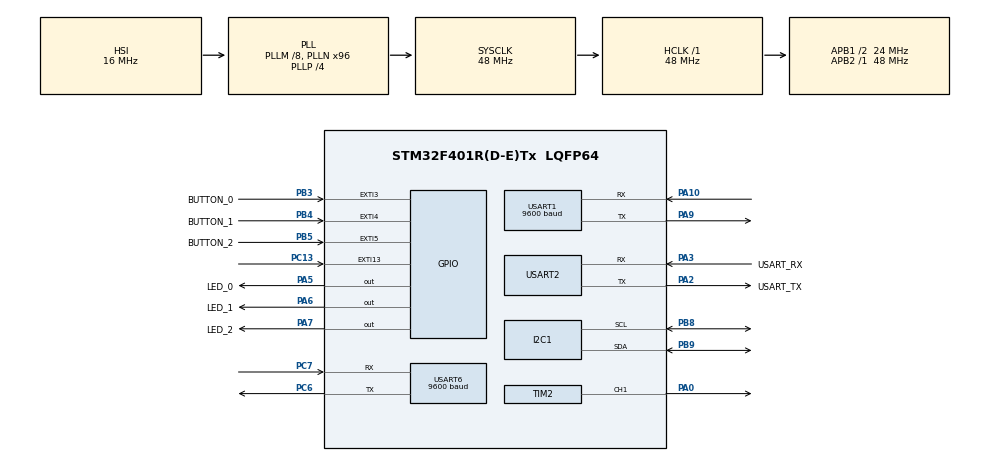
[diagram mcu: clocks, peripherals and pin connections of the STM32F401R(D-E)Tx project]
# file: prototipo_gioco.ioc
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Dma.I2C1_TX.0.Direction=DMA_MEMORY_TO_PERIPH
Dma.I2C1_TX.0.FIFOMode=DMA_FIFOMODE_DISABLE
Dma.I2C1_TX.0.Instance=DMA1_Stream6
Dma.I2C1_TX.0.MemDataAlignment=DMA_MDATAALIGN_BYTE
Dma.I2C1_TX.0.MemInc=DMA_MINC_ENABLE
Dma.I2C1_TX.0.Mode=DMA_NORMAL
Dma.I2C1_TX.0.PeriphDataAlignment=DMA_PDATAALIGN_BYTE
Dma.I2C1_TX.0.PeriphInc=DMA_PINC_DISABLE
Dma.I2C1_TX.0.Priority=DMA_PRIORITY_LOW
Dma.Request0=I2C1_TX
FREERTOS.Tasks01=GameTask,0,1024,StartGameTask,Default,NULL,Dynamic,NULL,NULL
FREERTOS.Timers01=TimeoutTimer,TimeoutCallback,osTimerOnce,Default,NULL,Dynamic,NULL
FREERTOS.configUSE_NEWLIB_REENTRANT=1
FREERTOS.configUSE_TIMERS=1
I2C1.I2C_Mode=I2C_Fast
Mcu.Family=STM32F4
Mcu.Name=STM32F401R(D-E)Tx
Mcu.Package=LQFP64
NVIC.DMA1_Stream6_IRQn=true\:5\:0\:false\:false\:true\:true\:false\:true\:true
NVIC.EXTI15_10_IRQn=true\:5\:0\:false\:false\:true\:true\:true\:true\:true
NVIC.EXTI3_IRQn=true\:5\:0\:false\:false\:true\:false\:true\:true\:true
NVIC.EXTI4_IRQn=true\:5\:0\:false\:false\:true\:false\:true\:true\:true
NVIC.EXTI9_5_IRQn=true\:5\:0\:false\:false\:true\:false\:true\:true\:true
NVIC.I2C1_EV_IRQn=true\:5\:0\:false\:false\:true\:true\:true\:true\:true
NVIC.PriorityGroup=NVIC_PRIORITYGROUP_4
NVIC.TIM1_UP_TIM10_IRQn=true\:15\:0\:false\:false\:true\:false\:false\:true\:true
NVIC.TIM2_IRQn=true\:5\:0\:false\:false\:true\:true\:true\:true\:true
NVIC.TimeBase=TIM1_UP_TIM10_IRQn
NVIC.TimeBaseIP=TIM1
NVIC.USART1_IRQn=true\:5\:0\:false\:false\:true\:true\:true\:true\:true
PA0-WKUP.Signal=S_TIM2_CH1_ETR
PA10.Mode=Asynchronous
PA10.Signal=USART1_RX
PA13.Mode=Serial_Wire
PA13.Signal=SYS_JTMS-SWDIO
PA14.GPIO_Label=TCK
PA14.Mode=Serial_Wire
PA14.Signal=SYS_JTCK-SWCLK
PA2.GPIO_Label=USART_TX
PA2.GPIO_Mode=GPIO_MODE_AF_PP
PA2.GPIO_PuPd=GPIO_NOPULL
PA2.GPIO_Speed=GPIO_SPEED_FREQ_LOW
PA2.Mode=Asynchronous
PA2.Signal=USART2_TX
PA3.GPIO_Label=USART_RX
PA3.GPIO_Mode=GPIO_MODE_AF_PP
PA3.GPIO_PuPd=GPIO_NOPULL
PA3.GPIO_Speed=GPIO_SPEED_FREQ_LOW
PA3.Mode=Asynchronous
PA3.Signal=USART2_RX
PA5.GPIO_Label=LED_0
PA5.GPIO_Mode=GPIO_MODE_OUTPUT_PP
PA5.GPIO_PuPd=GPIO_NOPULL
PA5.GPIO_Speed=GPIO_SPEED_FREQ_LOW
PA5.Signal=GPIO_Output
PA6.GPIO_Label=LED_1
PA6.Signal=GPIO_Output
PA7.GPIO_Label=LED_2
PA7.Signal=GPIO_Output
PA9.Mode=Asynchronous
PA9.Signal=USART1_TX
PB3.GPIO_Label=BUTTON_0
PB3.GPIO_ModeDefaultEXTI=GPIO_MODE_IT_FALLING
PB3.GPIO_PuPd=GPIO_PULLUP
PB3.Signal=GPXTI3
PB4.GPIO_Label=BUTTON_1
PB4.GPIO_ModeDefaultEXTI=GPIO_MODE_IT_FALLING
PB4.GPIO_PuPd=GPIO_PULLUP
PB4.Signal=GPXTI4
PB5.GPIO_Label=BUTTON_2
PB5.GPIO_ModeDefaultEXTI=GPIO_MODE_IT_FALLING
PB5.GPIO_PuPd=GPIO_PULLUP
PB5.Signal=GPXTI5
PB8.Mode=I2C
PB8.Signal=I2C1_SCL
PB9.Mode=I2C
PB9.Signal=I2C1_SDA
PC13-ANTI_TAMP.GPIO_ModeDefaultEXTI=GPIO_MODE_IT_FALLING
PC13-ANTI_TAMP.Signal=GPXTI13
PC14-OSC32_IN.Mode=LSE-External-Oscillator
PC14-OSC32_IN.Signal=RCC_OSC32_IN
PC15-OSC32_OUT.Mode=LSE-External-Oscillator
PC15-OSC32_OUT.Signal=RCC_OSC32_OUT
PC6.Mode=Asynchronous
PC6.Signal=USART6_TX
PC7.Mode=Asynchronous
PC7.Signal=USART6_RX
PH0\ -\ OSC_IN.Mode=HSE-External-Clock-Source
PH0\ -\ OSC_IN.Signal=RCC_OSC_IN
PH1\ -\ OSC_OUT.Mode=HSE-External-Clock-Source
PH1\ -\ OSC_OUT.Signal=RCC_OSC_OUT
ProjectManager.HeapSize=0x200
ProjectManager.StackSize=0x400
ProjectManager.TargetToolchain=STM32CubeIDE
RCC.48MHZClocksFreq_Value=27428571.42857143
RCC.AHBFreq_Value=48000000
RCC.APB1CLKDivider=RCC_HCLK_DIV2
RCC.APB1Freq_Value=24000000
RCC.APB1TimFreq_Value=48000000
RCC.APB2Freq_Value=48000000
RCC.APB2TimFreq_Value=48000000
RCC.CortexFreq_Value=48000000
RCC.HCLKFreq_Value=48000000
RCC.HSE_VALUE=8000000
RCC.HSI_VALUE=16000000
RCC.PLLM=8
RCC.PLLN=96
RCC.PLLP=RCC_PLLP_DIV4
RCC.PLLQ=7
RCC.SYSCLKFreq_VALUE=48000000
RCC.SYSCLKSource=RCC_SYSCLKSOURCE_PLLCLK
RCC.VCOOutputFreq_Value=192000000
SH.S_TIM2_CH1_ETR.0=TIM2_CH1,PWM Generation1 CH1
TIM2.AutoReloadPreload=TIM_AUTORELOAD_PRELOAD_ENABLE
TIM2.Channel-PWM\ Generation1\ CH1=TIM_CHANNEL_1
TIM2.Period=1000
TIM2.Prescaler=84 - 1
USART1.BaudRate=9600
USART1.VirtualMode=VM_ASYNC
USART2.VirtualMode=VM_ASYNC
USART6.BaudRate=9600
USART6.VirtualMode=VM_ASYNC
VP_FREERTOS_VS_CMSIS_V1.Mode=CMSIS_V1
VP_SYS_VS_tim1.Mode=TIM1
VP_TIM2_VS_ClockSourceINT.Mode=Internal
board=NUCLEO-F401RE

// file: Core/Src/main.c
/* USER CODE BEGIN Header */
/**
  ******************************************************************************
  * @file           : main.c -V0.0.4
  * @brief          : Main program body
  * author: Elisa Castellari 5610013 / Moreno Tomaghelli 5291133
  * prova push elisa
  ******************************************************************************
  */
/* USER CODE END Header */
#include "main.h"
#include "cmsis_os.h"

/* USER CODE BEGIN Includes */
#include "game.h"
#include "constants.h"
#include "buzzer.h"
#include "hm10_ble.h"
/* USER CODE END Includes */

I2C_HandleTypeDef hi2c1;
DMA_HandleTypeDef hdma_i2c1_tx;

TIM_HandleTypeDef htim2;

UART_HandleTypeDef huart1;
UART_HandleTypeDef huart2;
UART_HandleTypeDef huart6;

osThreadId GameTaskHandle;
osTimerId TimeoutTimerHandle;
/* USER CODE BEGIN PV */

uint8_t rx_byte; // variabile per salvare il bt in arrivo

typedef struct {  //struct with port and pin associated
    GPIO_TypeDef* port;
    uint16_t pin;
   // uint16_t frequency; //for generating a note with the buzzer
} HardwareElement_t;

HardwareElement_t array_leds[NUM_BUTTONS] = {
    {GPIOA, GPIO_PIN_5}, // LED 0
    {GPIOA, GPIO_PIN_6}, // LED 1
    {GPIOA, GPIO_PIN_7}  // LED 2
};

HardwareElement_t array_bottoni[NUM_BUTTONS] = {
    {GPIOB, GPIO_PIN_3}, // BUTTON 0
    {GPIOB, GPIO_PIN_4}, // BUTTON 1
    {GPIOB, GPIO_PIN_5}  // BUTTON 2
};

volatile uint8_t buttonPressed = 0; // 0 se non premuto, 1 se premuto
volatile uint8_t timeoutOccurred = 0; // missed input
volatile int8_t pressedButtonIndex = -1; //to understand which button has been pressed
volatile uint8_t songSelection = 0;
//uint8_t rx_byte = '0';
uint8_t rx_string = '0';
uint32_t startTime = 0;
uint8_t targetIndex = 0; //the led that is turned on
uint32_t reactionTime = 0;
GameNote_t* melody; //my melody

extern int combo; //tiene conto la combo
extern int score; //tiene conto dello score

volatile uint8_t recievedOK = 0; //messo per dire ricevuto
//int timer_value = 0; // valuta tempo di risposta

/* USER CODE END PV */

void SystemClock_Config(void);
static void MX_GPIO_Init(void);
static void MX_DMA_Init(void);
static void MX_TIM2_Init(void);
static void MX_USART2_UART_Init(void);
static void MX_I2C1_Init(void);
static void MX_USART1_UART_Init(void);
static void MX_USART6_UART_Init(void);
void StartGameTask(void const * argument);
void TimeoutCallback(void const * argument);

/* USER CODE BEGIN PFP */
#ifdef __GNUC__
  #define PUTCHAR_PROTOTYPE int __io_putchar(int ch)
#else
  #define PUTCHAR_PROTOTYPE int fputc(int ch, FILE *f)
#endif

PUTCHAR_PROTOTYPE
{
  HAL_UART_Transmit(&huart2, (uint8_t *)&ch, 1, 0xFFFF);
  return ch;
}
/* USER CODE END PFP */

/* USER CODE BEGIN 0 */

//////////////////////////dma///////////////////////////
volatile uint8_t trasmissione_in_corso = 0;

// Questa funzione viene chiamata dall'hardware quando il DMA ha finito
void HAL_I2C_MemTxCpltCallback(I2C_HandleTypeDef *hi2c) {
    if (hi2c->Instance == I2C1) {
        trasmissione_in_corso = 0; // Il buffer ora è libero!
    }
}
////////////////////////////////////////////////////////////////

/* USER CODE END 0 */

int main(void)
{

  /* MCU Configuration--------------------------------------------------------*/

  /* Reset of all peripherals, Initializes the Flash interface and the Systick. */
  HAL_Init();

  /* Configure the system clock */
  SystemClock_Config();

  /* Initialize all configured peripherals */
  MX_GPIO_Init();
  MX_DMA_Init();
  MX_TIM2_Init();
  MX_USART2_UART_Init();
  MX_I2C1_Init();
  MX_USART1_UART_Init();
  MX_USART6_UART_Init();
  /* USER CODE BEGIN 2 */
  // HAL_UART_Recieve_IT(&uart1, &rx_byte, 1);
  /* USER CODE BEGIN 2 */
  // Stringa da inviare all'HM-10
  //uint8_t at_command[] = "6";

  // Invio del comando tramite USART1 (timeout 100ms)
 // HAL_UART_Transmit(&huart1, at_command, sizeof(at_command)-1, 100);

  //bt_transmit_int(3);
  HAL_UART_Receive_IT(&huart1, &rx_string, 1);
  /* USER CODE END 2 */

  /* Create the timer(s) */
  /* definition and creation of TimeoutTimer */
  osTimerDef(TimeoutTimer, TimeoutCallback);
  TimeoutTimerHandle = osTimerCreate(osTimer(TimeoutTimer), osTimerOnce, NULL);

  /* Create the thread(s) */
  /* definition and creation of GameTask */
  osThreadDef(GameTask, StartGameTask, osPriorityNormal, 0, 1024);
  GameTaskHandle = osThreadCreate(osThread(GameTask), NULL);

  /* Start scheduler */
  osKernelStart();

  /* We should never get here as control is now taken by the scheduler */

  /* Infinite loop */
  while (1)
  {

  }
}

void SystemClock_Config(void)
{
  RCC_OscInitTypeDef RCC_OscInitStruct = {0};
  RCC_ClkInitTypeDef RCC_ClkInitStruct = {0};

  /** Configure the main internal regulator output voltage
  */
  __HAL_RCC_PWR_CLK_ENABLE();
  __HAL_PWR_VOLTAGESCALING_CONFIG(PWR_REGULATOR_VOLTAGE_SCALE2);

  /** Initializes the RCC Oscillators according to the specified parameters
  * in the RCC_OscInitTypeDef structure.
  */
  RCC_OscInitStruct.OscillatorType = RCC_OSCILLATORTYPE_HSI;
  RCC_OscInitStruct.HSIState = RCC_HSI_ON;
  RCC_OscInitStruct.HSICalibrationValue = RCC_HSICALIBRATION_DEFAULT;
  RCC_OscInitStruct.PLL.PLLState = RCC_PLL_ON;
  RCC_OscInitStruct.PLL.PLLSource = RCC_PLLSOURCE_HSI;
  RCC_OscInitStruct.PLL.PLLM = 8;
  RCC_OscInitStruct.PLL.PLLN = 96;
  RCC_OscInitStruct.PLL.PLLP = RCC_PLLP_DIV4;
  RCC_OscInitStruct.PLL.PLLQ = 7;
  if (HAL_RCC_OscConfig(&RCC_OscInitStruct) != HAL_OK)
  {
    Error_Handler();
  }

  /** Initializes the CPU, AHB and APB buses clocks
  */
  RCC_ClkInitStruct.ClockType = RCC_CLOCKTYPE_HCLK|RCC_CLOCKTYPE_SYSCLK
                              |RCC_CLOCKTYPE_PCLK1|RCC_CLOCKTYPE_PCLK2;
  RCC_ClkInitStruct.SYSCLKSource = RCC_SYSCLKSOURCE_PLLCLK;
  RCC_ClkInitStruct.AHBCLKDivider = RCC_SYSCLK_DIV1;
  RCC_ClkInitStruct.APB1CLKDivider = RCC_HCLK_DIV2;
  RCC_ClkInitStruct.APB2CLKDivider = RCC_HCLK_DIV1;

  if (HAL_RCC_ClockConfig(&RCC_ClkInitStruct, FLASH_LATENCY_1) != HAL_OK)
  {
    Error_Handler();
  }
}

static void MX_I2C1_Init(void)
{

  hi2c1.Instance = I2C1;
  hi2c1.Init.ClockSpeed = 400000;
  hi2c1.Init.DutyCycle = I2C_DUTYCYCLE_2;
  hi2c1.Init.OwnAddress1 = 0;
  hi2c1.Init.AddressingMode = I2C_ADDRESSINGMODE_7BIT;
  hi2c1.Init.DualAddressMode = I2C_DUALADDRESS_DISABLE;
  hi2c1.Init.OwnAddress2 = 0;
  hi2c1.Init.GeneralCallMode = I2C_GENERALCALL_DISABLE;
  hi2c1.Init.NoStretchMode = I2C_NOSTRETCH_DISABLE;
  if (HAL_I2C_Init(&hi2c1) != HAL_OK)
  {
    Error_Handler();
  }

}

static void MX_TIM2_Init(void)
{

  TIM_ClockConfigTypeDef sClockSourceConfig = {0};
  TIM_MasterConfigTypeDef sMasterConfig = {0};
  TIM_OC_InitTypeDef sConfigOC = {0};

  htim2.Instance = TIM2;
  htim2.Init.Prescaler = 84 - 1;
  htim2.Init.CounterMode = TIM_COUNTERMODE_UP;
  htim2.Init.Period = 1000;
  htim2.Init.ClockDivision = TIM_CLOCKDIVISION_DIV1;
  htim2.Init.AutoReloadPreload = TIM_AUTORELOAD_PRELOAD_ENABLE;
  if (HAL_TIM_Base_Init(&htim2) != HAL_OK)
  {
    Error_Handler();
  }
  sClockSourceConfig.ClockSource = TIM_CLOCKSOURCE_INTERNAL;
  if (HAL_TIM_ConfigClockSource(&htim2, &sClockSourceConfig) != HAL_OK)
  {
    Error_Handler();
  }
  if (HAL_TIM_PWM_Init(&htim2) != HAL_OK)
  {
    Error_Handler();
  }
  sMasterConfig.MasterOutputTrigger = TIM_TRGO_RESET;
  sMasterConfig.MasterSlaveMode = TIM_MASTERSLAVEMODE_DISABLE;
  if (HAL_TIMEx_MasterConfigSynchronization(&htim2, &sMasterConfig) != HAL_OK)
  {
    Error_Handler();
  }
  sConfigOC.OCMode = TIM_OCMODE_PWM1;
  sConfigOC.Pulse = 0;
  sConfigOC.OCPolarity = TIM_OCPOLARITY_HIGH;
  sConfigOC.OCFastMode = TIM_OCFAST_DISABLE;
  if (HAL_TIM_PWM_ConfigChannel(&htim2, &sConfigOC, TIM_CHANNEL_1) != HAL_OK)
  {
    Error_Handler();
  }
  HAL_TIM_MspPostInit(&htim2);

}

static void MX_USART1_UART_Init(void)
{

  huart1.Instance = USART1;
  huart1.Init.BaudRate = 9600;
  huart1.Init.WordLength = UART_WORDLENGTH_8B;
  huart1.Init.StopBits = UART_STOPBITS_1;
  huart1.Init.Parity = UART_PARITY_NONE;
  huart1.Init.Mode = UART_MODE_TX_RX;
  huart1.Init.HwFlowCtl = UART_HWCONTROL_NONE;
  huart1.Init.OverSampling = UART_OVERSAMPLING_16;
  if (HAL_UART_Init(&huart1) != HAL_OK)
  {
    Error_Handler();
  }

}

static void MX_USART2_UART_Init(void)
{

  huart2.Instance = USART2;
  huart2.Init.BaudRate = 115200;
  huart2.Init.WordLength = UART_WORDLENGTH_8B;
  huart2.Init.StopBits = UART_STOPBITS_1;
  huart2.Init.Parity = UART_PARITY_NONE;
  huart2.Init.Mode = UART_MODE_TX_RX;
  huart2.Init.HwFlowCtl = UART_HWCONTROL_NONE;
  huart2.Init.OverSampling = UART_OVERSAMPLING_16;
  if (HAL_UART_Init(&huart2) != HAL_OK)
  {
    Error_Handler();
  }

}

static void MX_USART6_UART_Init(void)
{

  huart6.Instance = USART6;
  huart6.Init.BaudRate = 9600;
  huart6.Init.WordLength = UART_WORDLENGTH_8B;
  huart6.Init.StopBits = UART_STOPBITS_1;
  huart6.Init.Parity = UART_PARITY_NONE;
  huart6.Init.Mode = UART_MODE_TX_RX;
  huart6.Init.HwFlowCtl = UART_HWCONTROL_NONE;
  huart6.Init.OverSampling = UART_OVERSAMPLING_16;
  if (HAL_UART_Init(&huart6) != HAL_OK)
  {
    Error_Handler();
  }

}

static void MX_DMA_Init(void)
{

  /* DMA controller clock enable */
  __HAL_RCC_DMA1_CLK_ENABLE();

  /* DMA interrupt init */
  /* DMA1_Stream6_IRQn interrupt configuration */
  HAL_NVIC_SetPriority(DMA1_Stream6_IRQn, 5, 0);
  HAL_NVIC_EnableIRQ(DMA1_Stream6_IRQn);

}

static void MX_GPIO_Init(void)
{
  GPIO_InitTypeDef GPIO_InitStruct = {0};

  /* GPIO Ports Clock Enable */
  __HAL_RCC_GPIOC_CLK_ENABLE();
  __HAL_RCC_GPIOH_CLK_ENABLE();
  __HAL_RCC_GPIOA_CLK_ENABLE();
  __HAL_RCC_GPIOB_CLK_ENABLE();

  /*Configure GPIO pin Output Level */
  HAL_GPIO_WritePin(GPIOA, LED_0_Pin|LED_1_Pin|LED_2_Pin, GPIO_PIN_RESET);

  /*Configure GPIO pin : PC13 */
  GPIO_InitStruct.Pin = GPIO_PIN_13;
  GPIO_InitStruct.Mode = GPIO_MODE_IT_FALLING;
  GPIO_InitStruct.Pull = GPIO_NOPULL;
  HAL_GPIO_Init(GPIOC, &GPIO_InitStruct);

  /*Configure GPIO pins : LED_0_Pin LED_1_Pin LED_2_Pin */
  GPIO_InitStruct.Pin = LED_0_Pin|LED_1_Pin|LED_2_Pin;
  GPIO_InitStruct.Mode = GPIO_MODE_OUTPUT_PP;
  GPIO_InitStruct.Pull = GPIO_NOPULL;
  GPIO_InitStruct.Speed = GPIO_SPEED_FREQ_LOW;
  HAL_GPIO_Init(GPIOA, &GPIO_InitStruct);

  /*Configure GPIO pins : BUTTON_0_Pin BUTTON_1_Pin BUTTON_2_Pin */
  GPIO_InitStruct.Pin = BUTTON_0_Pin|BUTTON_1_Pin|BUTTON_2_Pin;
  GPIO_InitStruct.Mode = GPIO_MODE_IT_FALLING;
  GPIO_InitStruct.Pull = GPIO_PULLUP;
  HAL_GPIO_Init(GPIOB, &GPIO_InitStruct);

  /* EXTI interrupt init*/
  HAL_NVIC_SetPriority(EXTI3_IRQn, 5, 0);
  HAL_NVIC_EnableIRQ(EXTI3_IRQn);

  HAL_NVIC_SetPriority(EXTI4_IRQn, 5, 0);
  HAL_NVIC_EnableIRQ(EXTI4_IRQn);

  HAL_NVIC_SetPriority(EXTI9_5_IRQn, 5, 0);
  HAL_NVIC_EnableIRQ(EXTI9_5_IRQn);

  HAL_NVIC_SetPriority(EXTI15_10_IRQn, 5, 0);
  HAL_NVIC_EnableIRQ(EXTI15_10_IRQn);

}

/* USER CODE BEGIN 4 */
void HAL_GPIO_EXTI_Callback(uint16_t GPIO_Pin) {
	if (buttonPressed == 0) {

	        // 1. IL TASTO BLU PER INIZIARE LA PARTITA!
	        if (GPIO_Pin == GPIO_PIN_13) {
	            buttonPressed = BLUE_BUTTON; // prova mia
	            return; // Esci subito dalla funzione, non fare altro
	        }

	        // 2. I TASTI COLORATI PER GIOCARE
	        for (int i = 0; i < NUM_BUTTONS; i++) {
	            if (GPIO_Pin == array_bottoni[i].pin) {
	                // Trovato! Calcolo il tempo
	                reactionTime = osKernelSysTick() - startTime; // start time viene eguagliato a osKernelSysTick() dopo ogni input
	                pressedButtonIndex = i; // Mi salvo QUALE ha premuto
	                buttonPressed = 1;      // Sblocco il gioco
	                break;                  // Esco dal ciclo for
	            }
	        }
	    }
	}

/* Callback del Timer (Fine del tempo) */

void HAL_UART_RxCpltCallback(UART_HandleTypeDef *huart){
	if(huart->Instance== USART1)
	{
		recievedOK = 1; //per dire ricevuto
		//rx_byte = 1;
		//if (rx_string == '7') {
		//          HAL_GPIO_WritePin(GPIOA, GPIO_PIN_5, GPIO_PIN_SET); // Accende il LED ()vedo se è vivo
		 //     }
		//HAL_UART_Receive_IT(&huart1, &rx_byte, 1);
		//HAL_UART_Receive_IT(&huart1, rx_string, 1);
		//rx_byte = '0';
	}
}

/* USER CODE END 4 */

void StartGameTask(void const * argument)
{
  /* USER CODE BEGIN 5 */
 // for(;;)
  //{
	 // combo = 0;
	 // score = 0;
     // printf("\r\n=== RHYTHM GAME PROTOTYPE ===\r\n");

      //melody = melodySelection();
	screen_init();
	osDelay(3000);
    gamePlay();

      //printf("Press the BLUE button to start\r\n");

  /* USER CODE END 5 */
}

/* TimeoutCallback function */
void TimeoutCallback(void const * argument)
{
  /* USER CODE BEGIN TimeoutCallback */
	//printf("MANCATO! Troppo lento CALLBACK.\r\n"); //provo per debug a mettere nel callback
	timeoutOccurred = 1;
	//StopTone(); //resetto suono per andare avanti
  /* USER CODE END TimeoutCallback */
}

void HAL_TIM_PeriodElapsedCallback(TIM_HandleTypeDef *htim)
{
  if (htim->Instance == TIM1)
  {
    HAL_IncTick();
  }
}

void Error_Handler(void)
{
  /* USER CODE BEGIN Error_Handler_Debug */
  /* User can add his own implementation to report the HAL error return state */
  __disable_irq();
  while (1)
  {
	  gamePlay();
  }
  /* USER CODE END Error_Handler_Debug */
}
